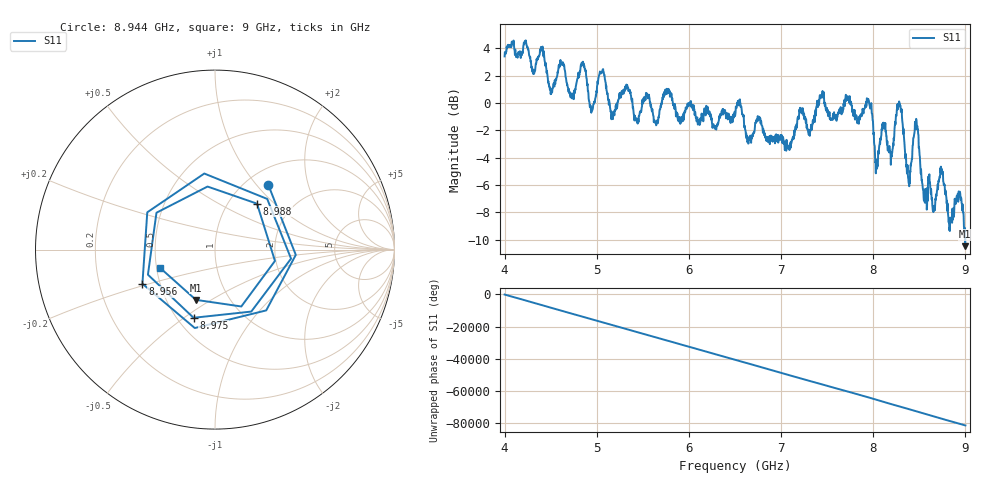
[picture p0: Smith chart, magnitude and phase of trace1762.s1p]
! Created with skrf 1.8.0 (http://scikit-rf.org).
# Hz S RI R 50.0
!freq ReS11 ImS11
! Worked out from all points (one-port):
!   1601 points, 4 GHz to 9 GHz, reference 50 ohm
!   lowest |S11| = -10.5 dB at 8.997 GHz (marker M1), VSWR 1.85, Z = 35 - j21.5 ohm
!   |S11| at or under -10 dB: 8.995935 GHz to 8.999169 GHz (3.234 MHz wide, 0.0359 % of centre)
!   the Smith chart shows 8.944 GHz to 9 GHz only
!   S11 on the Smith chart (normalised r, x): 8.944 GHz: 1.26, +1.15; 8.956 GHz: 0.40, -0.19; 8.975 GHz: 0.60, -0.54; 8.988 GHz: 1.35, +0.78; 9 GHz: 0.52, -0.12
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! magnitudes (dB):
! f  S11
! 4 GHz  3.4
! 4.406 GHz  3.9
! 4.503 GHz  0.8
! 4.625 GHz  2.9
! 4.725 GHz  0.6
! 4.856 GHz  2.9
! 4.944 GHz  -0.3
! 5.053 GHz  2.2
! 5.169 GHz  -0.7
! 5.25 GHz  0.4
! 5.875 GHz  -0.8
! 6.5 GHz  -1.0
! 7.125 GHz  -2.5
! 7.75 GHz  0.0
! 7.956 GHz  0.0
! 8.041 GHz  -4.8
! 8.112 GHz  -1.6
! 8.194 GHz  -3.8
! 8.284 GHz  0.0
! 8.375 GHz  -5.2
! 8.466 GHz  -1.2
! 8.559 GHz  -7.3
! 8.944 GHz  -6.6
! 8.956 GHz  -7.0
! 8.975 GHz  -8.0
! 8.988 GHz  -9.2
! 8.997 GHz  -10.5
! 9 GHz  -9.8
